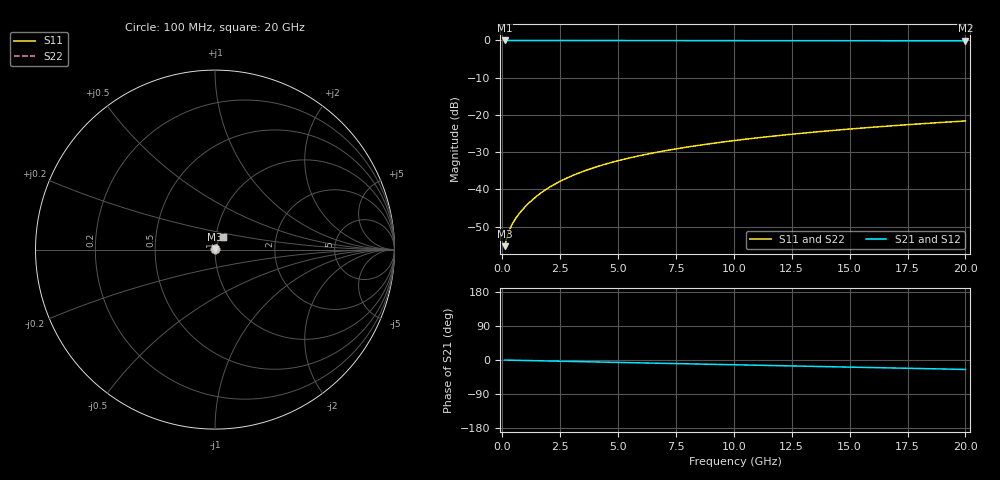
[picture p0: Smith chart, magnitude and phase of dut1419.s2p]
! Touchstone file exported from HFSS 2026.1.0
!  File:  C:/ffzhzh/LocalFiles/Ansys_Project_Files/temp_train_BSMRDL_1419_1783180195_43440.aedt
!  Generated:  11:51:06 PM Jul  4, 2026
!  Design:  BSMRDL
!  Project:  temp_train_BSMRDL_1419_1783180195_43440
! Variables:
!  h_bsmrdl = 4um
!  h_ox = 20um
!  h_rdl = 5um
!  h_sub = 80um
!  h_tmrdl = 5um
!  h_tsv = 80um
!  h_via = 3um
!  l_bsmrdl = 417.98um
!  l_sub = 817.98um
!  l_tmrdl = 200um
!  m_sub = 200um
!  pitch = 38.34um
!  r_tsv = 6um
!  s_tmrdl = 10um
!  w_bsmrdl = 29.73um
!  w_sub = 500um
!  w_tmrdl = 12um
!  x_tsv_center1 = 206um
!  x_tsv_center2 = 653.71um
!  x_tsv_center3 = 865.71um
!  x_tsv_center4 = 1313.42um
!  x_tsv_center5 = 1525.42um
!  x_tsv_center6 = 1973.13um
# GHz S MA R 50.000000
! Terminal data exported
! Port[1] = BSM_RDL1_1_T1
! Port[2] = BSM_RDL1_1_T2
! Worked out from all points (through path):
!   200 points, 100 MHz to 20 GHz, reference 50 ohm
!   highest |S21| = -0.01 dB at 100 MHz (marker M1); lowest = -0.1 dB at 20 GHz (marker M2)
!   group delay of S21, straight-line fit = 3.45 ps
!   lowest |S11| = -55.3 dB at 100 MHz (marker M3), VSWR 1.00, Z = 50.2 + j0.0783 ohm
!   |S11| at or under -10 dB: start of sweep to end of sweep
!   |S22| runs from -55.3 to -21.6 dB; largest |S21 - S12| = 4.4e-15
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0.1  0.001721 27.0  0.9985 -0.1  0.9985 -0.1  0.001721 27.0
! Gamma 0 0 0 0
! Port Impedance 50 0 50 0
0.2  0.002255 40.3  0.9983 -0.3  0.9983 -0.3  0.00225 41.0
0.3  0.002789 46.5  0.9981 -0.4  0.9981 -0.4  0.0028 47.7
0.4  0.003273 50.5  0.9979 -0.5  0.9979 -0.5  0.003305 51.8
0.5  0.003722 53.5  0.9979 -0.7  0.9979 -0.7  0.00377 54.7
0.6  0.004155 56.2  0.9978 -0.8  0.9978 -0.8  0.004214 57.2
0.8  0.005013 60.6  0.9977 -1.0  0.9977 -1.0  0.005079 61.3
1.1  0.006332 65.4  0.9976 -1.4  0.9976 -1.4  0.00639 65.8
1.3  0.007233 67.6  0.9975 -1.7  0.9975 -1.7  0.007284 67.9
1.6  0.008611 70.0  0.9974 -2.1  0.9974 -2.1  0.00865 70.2
2.1  0.01094 72.3  0.9972 -2.7  0.9972 -2.7  0.01096 72.4
2.7  0.01374 73.7  0.9969 -3.5  0.9969 -3.5  0.01376 73.7
3.5  0.01745 74.2  0.9964 -4.5  0.9964 -4.5  0.01746 74.2
4.2  0.02064 74.1  0.996 -5.4  0.996 -5.4  0.02064 74.0
5  0.0242 73.6  0.9955 -6.4  0.9955 -6.4  0.02421 73.6
5.9  0.02813 72.9  0.9949 -7.5  0.9949 -7.5  0.02813 72.9
6.8  0.03197 72.1  0.9943 -8.6  0.9943 -8.6  0.03197 72.1
8.3  0.0382 70.8  0.9934 -10.5  0.9934 -10.5  0.0382 70.7
10.1  0.04548 69.0  0.9924 -12.7  0.9924 -12.7  0.04548 68.9
13.4  0.05839 65.7  0.9906 -16.8  0.9906 -16.8  0.0584 65.6
16.7  0.07083 62.3  0.9889 -20.9  0.9889 -20.9  0.07085 62.2
20  0.08276 58.7  0.9871 -24.9  0.9871 -24.9  0.08279 58.6
